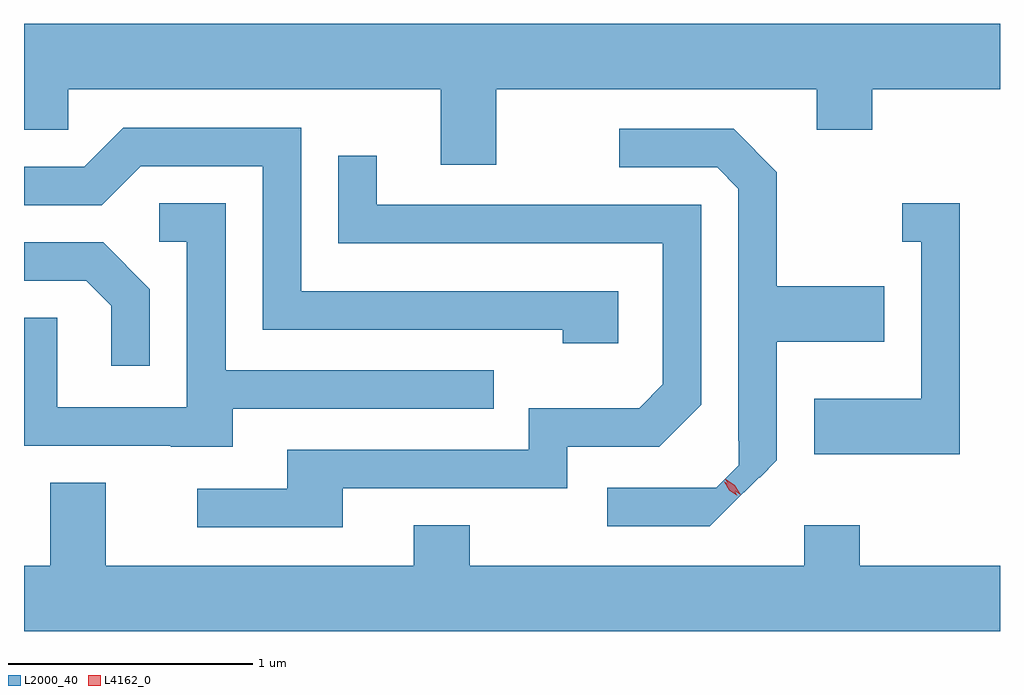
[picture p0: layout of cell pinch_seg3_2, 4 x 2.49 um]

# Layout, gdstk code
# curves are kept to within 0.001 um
import gdstk
lib = gdstk.Library(unit=1e-6, precision=1e-09)
def P(c, l, *ps):  # polygons
    for p in ps: c.add(gdstk.Polygon(p, *l))
L2000_40 = (2000, 40)
L4162_0 = (4162, 0)

pinch_seg3_2 = lib.new_cell('pinch_seg3_2')
P(pinch_seg3_2, L2000_40, [(846.829,1248.116),(848.141,1248.116),(848.141,1247.951),(848.369,1247.951),(848.369,1248.116),(848.893,1248.116),(848.893,1248.384),(844.893,1248.384),(844.893,1247.951),(845.074,1247.951),(845.074,1248.116),(846.601,1248.116),(846.601,1247.806),(846.829,1247.806)],
  [(847.329,1247.289),(846.029,1247.289),(846.029,1247.959),(845.299,1247.959),(845.139,1247.799),(844.893,1247.799),(844.893,1247.641),(845.212,1247.641),(845.372,1247.801),(845.871,1247.801),(845.871,1247.131),(847.101,1247.131),(847.101,1247.076),(847.329,1247.076)],
  [(847.777,1246.399),(847.906,1246.527),(847.908,1246.525),(847.979,1246.596),(847.979,1247.081),(848.419,1247.081),(848.419,1247.309),(847.979,1247.309),(847.979,1247.777),(847.802,1247.954),(847.333,1247.954),(847.333,1247.796),(847.734,1247.796),(847.821,1247.709),(847.822,1246.575),(847.731,1246.484),(847.283,1246.484),(847.283,1246.326),(847.704,1246.326)],
  [(846.199,1246.481),(847.119,1246.481),(847.119,1246.651),(847.497,1246.651),(847.669,1246.824),(847.669,1247.644),(846.339,1247.644),(846.339,1247.843),(846.181,1247.843),(846.181,1247.486),(847.511,1247.486),(847.511,1246.907),(847.414,1246.809),(846.961,1246.809),(846.961,1246.639),(845.971,1246.639),(845.971,1246.479),(845.603,1246.479),(845.603,1246.321),(846.199,1246.321)],
  [(845.749,1246.806),(846.818,1246.806),(846.818,1246.964),(845.719,1246.964),(845.719,1247.649),(845.448,1247.649),(845.448,1247.491),(845.561,1247.491),(845.561,1246.814),(845.029,1246.814),(845.029,1247.179),(844.893,1247.179),(844.893,1246.656),(845.495,1246.656),(845.495,1246.651),(845.749,1246.651)],
  [(848.729,1247.649),(848.493,1247.649),(848.493,1247.491),(848.571,1247.491),(848.571,1246.849),(848.131,1246.849),(848.131,1246.621),(848.729,1246.621)],
  [(845.409,1247.297),(845.217,1247.489),(844.893,1247.489),(844.893,1247.331),(845.149,1247.331),(845.251,1247.229),(845.251,1246.983),(845.409,1246.983)],
  [(848.893,1246.164),(848.319,1246.164),(848.319,1246.329),(848.091,1246.329),(848.091,1246.164),(846.719,1246.164),(846.719,1246.329),(846.491,1246.329),(846.491,1246.164),(845.229,1246.164),(845.229,1246.504),(845.001,1246.504),(845.001,1246.164),(844.893,1246.164),(844.893,1245.896),(848.893,1245.896)])
P(pinch_seg3_2, L4162_0, [(847.816,1246.45),(847.783,1246.472),(847.763,1246.508),(847.763,1246.508),(847.764,1246.508),(847.797,1246.486),(847.817,1246.45),(847.817,1246.45)],
  [(847.83,1246.454),(847.791,1246.48),(847.766,1246.519),(847.766,1246.52),(847.767,1246.52),(847.806,1246.494),(847.83,1246.454),(847.83,1246.454)])

lib.write_gds('pinch_seg3_2.gds')
